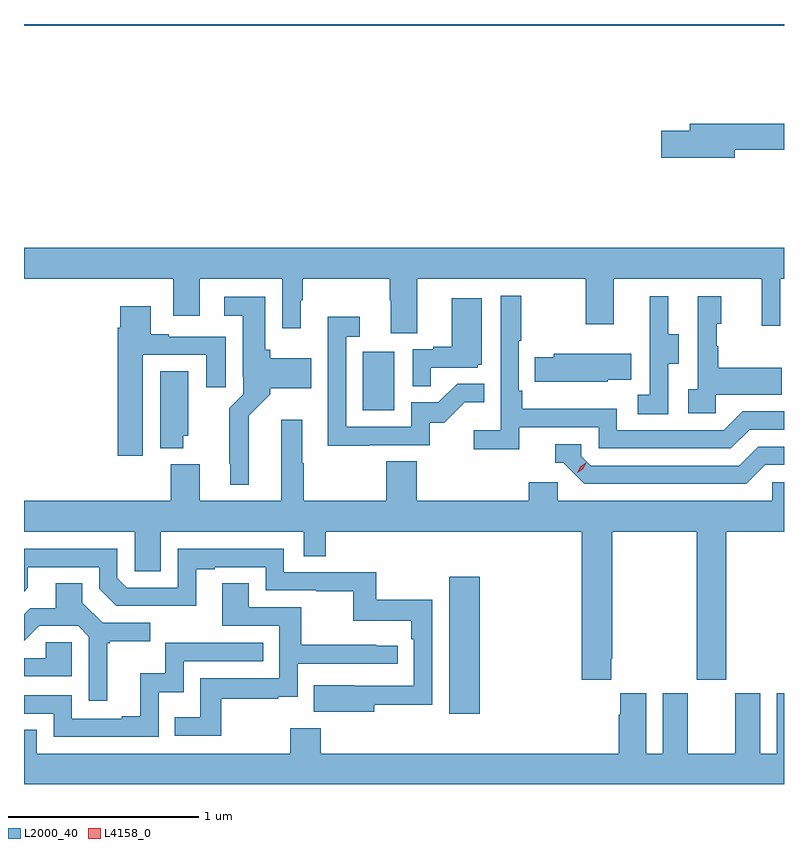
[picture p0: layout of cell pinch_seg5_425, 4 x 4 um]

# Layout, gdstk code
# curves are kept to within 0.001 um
import gdstk
lib = gdstk.Library(unit=1e-6, precision=1e-09)
def R(c, l, rs):  # rectangles x0, y0, x1, y1
    for r in rs: c.add(gdstk.rectangle(r[:2], r[2:], *l))
def P(c, l, *ps):  # polygons
    for p in ps: c.add(gdstk.Polygon(p, *l))
L2000_40 = (2000, 40)
L4158_0 = (4158, 0)

pinch_seg5_425 = lib.new_cell('pinch_seg5_425')
R(pinch_seg5_425, L2000_40, [(983.177,862.464,983.338,863.185), (982.724,864.06,982.888,864.367), (980.94,866.084,984.94,866.093)])
P(pinch_seg5_425, L2000_40, [(984.682,865.432),(984.94,865.432),(984.94,865.568),(984.443,865.568),(984.443,865.532),(984.294,865.532),(984.294,865.39),(984.682,865.39)],
  [(983.011,864.752),(983.896,864.752),(983.896,864.513),(984.043,864.513),(984.043,864.752),(984.824,864.752),(984.824,864.504),(984.921,864.504),(984.921,864.752),(984.94,864.752),(984.94,864.916),(980.94,864.916),(980.94,864.752),(981.725,864.752),(981.725,864.558),(981.865,864.558),(981.865,864.752),(982.299,864.752),(982.299,864.492),(982.396,864.492),(982.396,864.64),(982.408,864.64),(982.408,864.752),(982.864,864.752),(982.864,864.64),(982.871,864.64),(982.871,864.466),(983.011,864.466)],
  [(983.546,863.97),(983.964,863.97),(983.964,863.859),(984.661,863.859),(984.76,863.958),(984.94,863.958),(984.94,864.054),(984.723,864.054),(984.624,863.955),(984.06,863.955),(984.06,864.067),(983.563,864.067),(983.563,864.163),(983.544,864.163),(983.544,864.427),(983.557,864.427),(983.557,864.664),(983.448,864.664),(983.448,863.956),(983.307,863.956),(983.307,863.854),(983.546,863.854)],
  [(984.582,864.143),(984.929,864.143),(984.929,864.283),(984.595,864.283),(984.595,864.398),(984.585,864.398),(984.585,864.516),(984.61,864.516),(984.61,864.661),(984.486,864.661),(984.486,864.17),(984.435,864.17),(984.435,864.045),(984.582,864.045)],
  [(984.33,864.304),(984.385,864.304),(984.385,864.459),(984.331,864.459),(984.331,864.661),(984.233,864.661),(984.233,864.447),(984.234,864.447),(984.234,864.143),(984.171,864.143),(984.171,864.04),(984.33,864.04)],
  [(982.123,864.032),(982.236,864.145),(982.236,864.176),(982.453,864.176),(982.453,864.334),(982.236,864.334),(982.236,864.378),(982.21,864.378),(982.21,864.658),(981.993,864.658),(981.993,864.557),(982.091,864.557),(982.091,864.238),(982.095,864.238),(982.095,864.144),(982.021,864.07),(982.021,863.779),(982.025,863.779),(982.025,863.669),(982.123,863.669)],
  [(983.081,864.285),(983.328,864.285),(983.328,864.3),(983.35,864.3),(983.35,864.649),(983.192,864.649),(983.192,864.394),(983.093,864.394),(983.093,864.381),(982.986,864.381),(982.986,864.187),(983.081,864.187)],
  [(981.565,864.351),(981.899,864.351),(981.899,864.18),(982.003,864.18),(982.003,864.447),(981.703,864.447),(981.703,864.46),(981.607,864.46),(981.607,864.607),(981.446,864.607),(981.446,864.494),(981.434,864.494),(981.434,863.82),(981.565,863.82)],
  [(982.757,863.877),(983.076,863.877),(983.076,863.994),(983.152,863.994),(983.259,864.101),(983.363,864.101),(983.363,864.2),(983.219,864.2),(983.121,864.102),(982.977,864.102),(982.977,863.973),(982.635,863.973),(982.635,864.447),(982.708,864.447),(982.708,864.553),(982.539,864.553),(982.538,863.872),(982.757,863.872)],
  [(984.012,864.221),(984.137,864.221),(984.137,864.358),(983.727,864.358),(983.727,864.339),(983.629,864.339),(983.629,864.209),(984.012,864.209)],
  [(981.778,863.925),(981.805,863.925),(981.805,864.266),(981.656,864.266),(981.656,863.861),(981.778,863.861)],
  [(984.031,862.753),(984.036,862.753),(984.036,863.42),(984.481,863.42),(984.481,862.641),(984.636,862.641),(984.636,863.42),(984.94,863.42),(984.94,863.682),(984.879,863.682),(984.879,863.584),(983.748,863.584),(983.748,863.682),(983.597,863.682),(983.597,863.584),(983.006,863.584),(983.006,863.792),(982.846,863.792),(982.846,863.584),(982.413,863.584),(982.413,863.78),(982.405,863.78),(982.405,864.01),(982.295,864.01),(982.295,863.584),(981.865,863.584),(981.865,863.776),(981.713,863.776),(981.713,863.584),(980.94,863.584),(980.94,863.42),(981.522,863.42),(981.522,863.212),(981.661,863.212),(981.661,863.42),(982.413,863.42),(982.413,863.293),(982.529,863.293),(982.529,863.42),(983.876,863.42),(983.876,862.641),(984.031,862.641)],
  [(984.841,863.772),(984.94,863.772),(984.94,863.868),(984.804,863.868),(984.705,863.769),(983.922,863.769),(983.874,863.817),(983.874,863.88),(983.735,863.88),(983.735,863.784),(983.778,863.784),(983.889,863.673),(984.742,863.673)],
  [(982.783,862.51),(983.088,862.51),(983.088,863.062),(982.795,863.062),(982.795,863.208),(982.308,863.208),(982.308,863.331),(981.75,863.331),(981.75,863.127),(981.48,863.127),(981.432,863.175),(981.432,863.331),(980.94,863.331),(980.94,863.106),(980.959,863.125),(980.959,863.235),(981.336,863.235),(981.336,863.121),(981.426,863.031),(981.847,863.03),(981.847,863.223),(981.943,863.223),(981.943,863.235),(982.212,863.235),(982.212,863.112),(982.477,863.112),(982.477,863.107),(982.674,863.107),(982.674,862.952),(982.979,862.952),(982.979,862.856),(982.992,862.856),(982.992,862.611),(982.465,862.612),(982.465,862.472),(982.783,862.472)],
  [(981.379,862.833),(981.391,862.833),(981.391,862.844),(981.604,862.844),(981.604,862.941),(981.354,862.941),(981.247,863.048),(981.247,863.15),(981.107,863.15),(981.107,863.018),(980.972,863.018),(980.94,862.986),(980.94,862.847),(981.019,862.926),(981.225,862.926),(981.282,862.869),(981.282,862.53),(981.379,862.53)],
  [(981.979,862.542),(982.277,862.542),(982.277,862.553),(982.38,862.553),(982.38,862.725),(982.906,862.725),(982.906,862.821),(982.793,862.821),(982.793,862.826),(982.4,862.826),(982.4,863.022),(982.123,863.022),(982.123,863.15),(981.983,863.15),(981.983,862.926),(982.284,862.926),(982.284,862.65),(981.868,862.65),(981.868,862.444),(981.733,862.444),(981.733,862.347),(981.979,862.347)],
  [(981.192,862.839),(981.055,862.839),(981.055,862.755),(980.94,862.755),(980.94,862.659),(981.192,862.659)],
  [(981.648,862.577),(981.78,862.577),(981.78,862.74),(982.199,862.74),(982.199,862.836),(981.684,862.836),(981.684,862.675),(981.551,862.675),(981.551,862.45),(981.455,862.45),(981.455,862.437),(981.192,862.437),(981.192,862.56),(980.94,862.56),(980.94,862.464),(981.096,862.464),(981.096,862.341),(981.648,862.341)],
  [(984.94,862.57),(984.902,862.57),(984.902,862.252),(984.814,862.252),(984.814,862.57),(984.683,862.57),(984.683,862.252),(984.433,862.252),(984.433,862.57),(984.302,862.57),(984.302,862.252),(984.214,862.252),(984.214,862.57),(984.077,862.57),(984.077,862.457),(984.071,862.457),(984.071,862.252),(982.502,862.252),(982.502,862.387),(982.342,862.387),(982.342,862.252),(981.006,862.252),(981.006,862.379),(980.94,862.379),(980.94,862.093),(984.94,862.093)])
P(pinch_seg5_425, L4158_0, [(983.852,863.73),(983.852,863.731),(983.867,863.763),(983.897,863.783),(983.898,863.783),(983.898,863.783),(983.882,863.75),(983.852,863.73)])

lib.write_gds('pinch_seg5_425.gds')
